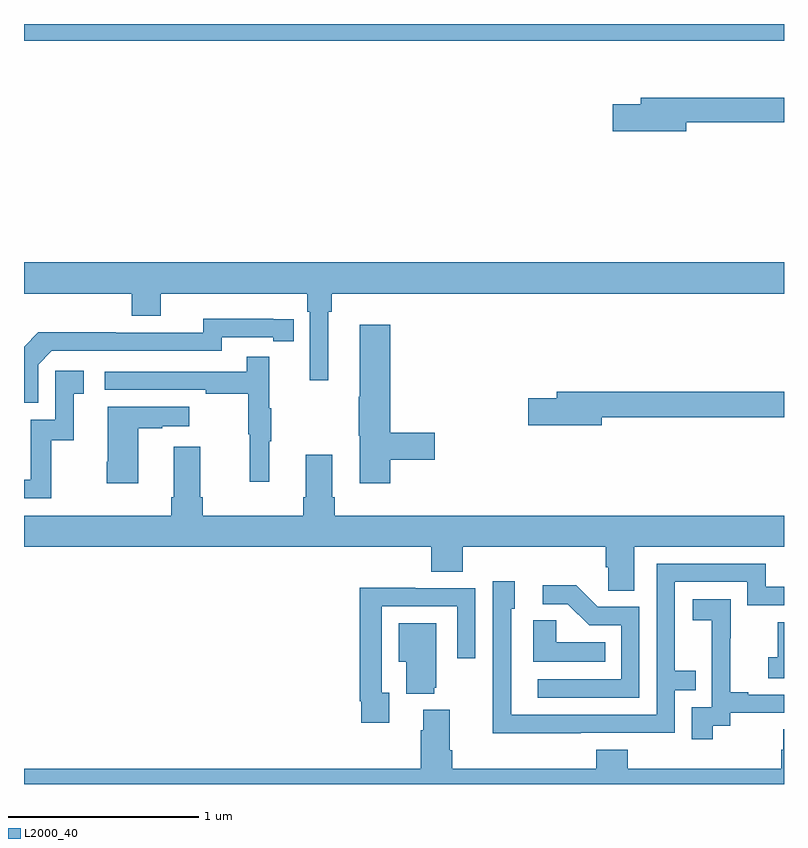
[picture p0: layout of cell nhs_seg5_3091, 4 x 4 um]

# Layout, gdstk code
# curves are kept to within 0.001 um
import gdstk
lib = gdstk.Library(unit=1e-6, precision=1e-09)
def R(c, l, rs):  # rectangles x0, y0, x1, y1
    for r in rs: c.add(gdstk.rectangle(r[:2], r[2:], *l))
def P(c, l, *ps):  # polygons
    for p in ps: c.add(gdstk.Polygon(p, *l))
L2000_40 = (2000, 40)

nhs_seg5_3091 = lib.new_cell('nhs_seg5_3091')
R(nhs_seg5_3091, L2000_40, [(289,904.712,293,904.799)])
P(nhs_seg5_3091, L2000_40, [(292.486,904.282),(293,904.282),(293,904.411),(292.247,904.411),(292.247,904.377),(292.098,904.377),(292.098,904.235),(292.486,904.235)],
  [(290.602,903.284),(290.621,903.284),(290.621,903.38),(293,903.38),(293,903.544),(289,903.544),(289,903.38),(289.568,903.38),(289.568,903.263),(289.72,903.263),(289.72,903.38),(290.492,903.38),(290.492,903.284),(290.505,903.284),(290.505,902.925),(290.602,902.925)],
  [(289.074,903.006),(289.146,903.078),(290.04,903.078),(290.04,903.15),(290.312,903.15),(290.312,903.13),(290.42,903.13),(290.42,903.246),(289.944,903.247),(289.944,903.174),(289.484,903.174),(289.484,903.176),(289.076,903.176),(289,903.1),(289,902.805),(289.074,902.805)],
  [(290.927,902.506),(291.163,902.506),(291.163,902.648),(290.927,902.648),(290.927,903.217),(290.768,903.217),(290.768,902.837),(290.761,902.837),(290.761,902.631),(290.768,902.631),(290.768,902.382),(290.927,902.382)],
  [(290.291,902.603),(290.302,902.603),(290.302,902.777),(290.291,902.777),(290.291,903.049),(290.173,903.049),(290.173,902.97),(289.425,902.97),(289.425,902.874),(289.957,902.874),(289.957,902.854),(290.181,902.854),(290.181,902.64),(290.188,902.64),(290.188,902.391),(290.291,902.391)],
  [(289.144,902.607),(289.262,902.607),(289.262,902.853),(289.315,902.853),(289.315,902.974),(289.164,902.974),(289.164,902.715),(289.035,902.715),(289.035,902.4),(289,902.4),(289,902.304),(289.144,902.304)],
  [(292.042,902.728),(293,902.728),(293,902.864),(291.803,902.864),(291.803,902.828),(291.654,902.828),(291.654,902.686),(292.042,902.686)],
  [(289.6,902.671),(289.727,902.671),(289.727,902.681),(289.87,902.681),(289.87,902.785),(289.442,902.785),(289.442,902.494),(289.435,902.494),(289.435,902.382),(289.6,902.382)],
  [(292.213,902.048),(293,902.048),(293,902.212),(290.636,902.212),(290.636,902.308),(290.623,902.308),(290.623,902.533),(290.483,902.533),(290.483,902.308),(290.471,902.308),(290.471,902.212),(289.94,902.212),(289.94,902.308),(289.927,902.308),(289.927,902.575),(289.787,902.575),(289.787,902.308),(289.775,902.308),(289.775,902.212),(289,902.212),(289,902.048),(291.143,902.048),(291.143,901.915),(291.308,901.915),(291.308,902.048),(292.061,902.048),(292.061,901.939),(292.074,901.939),(292.074,901.816),(292.213,901.816)],
  [(291.929,901.068),(292.425,901.068),(292.425,901.293),(292.535,901.293),(292.535,901.394),(292.425,901.394),(292.425,901.863),(292.806,901.863),(292.806,901.74),(293,901.74),(293,901.836),(292.903,901.836),(292.903,901.959),(292.329,901.959),(292.329,901.164),(291.564,901.164),(291.564,901.722),(291.583,901.722),(291.583,901.867),(291.468,901.867),(291.468,901.373),(291.466,901.373),(291.466,901.067),(291.929,901.067)],
  [(292.239,901.731),(292.02,901.731),(291.907,901.844),(291.729,901.844),(291.729,901.746),(291.863,901.746),(291.974,901.635),(292.143,901.635),(292.143,901.35),(291.705,901.35),(291.705,901.254),(292.239,901.254)],
  [(290.923,901.278),(290.883,901.278),(290.883,901.734),(291.279,901.734),(291.279,901.461),(291.375,901.461),(291.375,901.83),(291.059,901.83),(291.059,901.832),(290.767,901.832),(290.767,901.234),(290.775,901.234),(290.775,901.122),(290.923,901.122)],
  [(292.624,901.105),(292.716,901.105),(292.716,901.173),(293,901.173),(293,901.269),(292.813,901.269),(292.813,901.282),(292.718,901.282),(292.718,901.565),(292.719,901.565),(292.719,901.771),(292.521,901.771),(292.521,901.661),(292.619,901.661),(292.619,901.433),(292.62,901.433),(292.62,901.203),(292.515,901.203),(292.515,901.035),(292.624,901.035)],
  [(292.058,901.546),(291.801,901.546),(291.801,901.661),(291.68,901.661),(291.68,901.442),(292.058,901.442)],
  [(293,901.65),(292.966,901.65),(292.966,901.465),(292.917,901.465),(292.917,901.356),(293,901.356)],
  [(291.158,901.305),(291.169,901.305),(291.169,901.645),(290.972,901.645),(290.972,901.442),(291.011,901.442),(291.011,901.274),(291.158,901.274)],
  [(293,901.088),(292.997,901.088),(292.997,900.978),(292.985,900.978),(292.985,900.88),(292.178,900.88),(292.178,900.979),(292.013,900.979),(292.013,900.88),(291.254,900.88),(291.254,900.976),(291.241,900.976),(291.241,901.189),(291.101,901.189),(291.101,901.082),(291.089,901.082),(291.089,900.88),(289,900.88),(289,900.799),(293,900.799)])

lib.write_gds('nhs_seg5_3091.gds')
